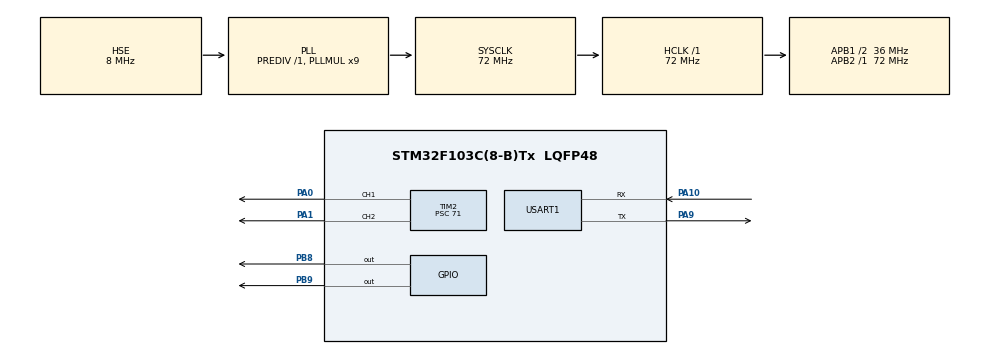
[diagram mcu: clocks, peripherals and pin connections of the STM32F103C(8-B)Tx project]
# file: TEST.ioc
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Mcu.Family=STM32F1
Mcu.Name=STM32F103C(8-B)Tx
Mcu.Package=LQFP48
NVIC.PriorityGroup=NVIC_PRIORITYGROUP_4
NVIC.USART1_IRQn=true\:0\:0\:false\:false\:true\:true\:true\:true
PA0-WKUP.Signal=S_TIM2_CH1_ETR
PA1.Signal=S_TIM2_CH2
PA10.Mode=Asynchronous
PA10.Signal=USART1_RX
PA13.Mode=Serial_Wire
PA13.Signal=SYS_JTMS-SWDIO
PA14.Mode=Serial_Wire
PA14.Signal=SYS_JTCK-SWCLK
PA9.Mode=Asynchronous
PA9.Signal=USART1_TX
PB8.GPIO_Speed=GPIO_SPEED_FREQ_HIGH
PB8.Signal=GPIO_Output
PB9.GPIO_Speed=GPIO_SPEED_FREQ_HIGH
PB9.Signal=GPIO_Output
PD0-OSC_IN.Mode=HSE-External-Oscillator
PD0-OSC_IN.Signal=RCC_OSC_IN
PD1-OSC_OUT.Mode=HSE-External-Oscillator
PD1-OSC_OUT.Signal=RCC_OSC_OUT
ProjectManager.HeapSize=0x200
ProjectManager.StackSize=0x400
ProjectManager.TargetToolchain=STM32CubeIDE
RCC.AHBFreq_Value=72000000
RCC.APB1CLKDivider=RCC_HCLK_DIV2
RCC.APB1Freq_Value=36000000
RCC.APB1TimFreq_Value=72000000
RCC.APB2Freq_Value=72000000
RCC.APB2TimFreq_Value=72000000
RCC.HCLKFreq_Value=72000000
RCC.PLLMUL=RCC_PLL_MUL9
RCC.PLLSourceVirtual=RCC_PLLSOURCE_HSE
RCC.SYSCLKFreq_VALUE=72000000
RCC.SYSCLKSource=RCC_SYSCLKSOURCE_PLLCLK
RCC.USBFreq_Value=72000000
SH.S_TIM2_CH1_ETR.0=TIM2_CH1,PWM Generation1 CH1
SH.S_TIM2_CH2.0=TIM2_CH2,PWM Generation2 CH2
TIM2.Channel-PWM\ Generation1\ CH1=TIM_CHANNEL_1
TIM2.Channel-PWM\ Generation2\ CH2=TIM_CHANNEL_2
TIM2.Period=19999
TIM2.Prescaler=71
USART1.VirtualMode=VM_ASYNC
board=custom

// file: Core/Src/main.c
/* USER CODE BEGIN Header */
/**
  ******************************************************************************
  * @file           : main.c
  * @brief          : Main program body
  ******************************************************************************
  */
/* USER CODE END Header */
#include "main.h"

/* USER CODE BEGIN Includes */
#include "OLED.h"
#include "Delay.h"
#include "Servo.h"
#include "Serial.h"
#include "SquareDraw.h"
#include "Motion.h"
#include <string.h>
/* USER CODE END Includes */

TIM_HandleTypeDef htim2;

UART_HandleTypeDef huart1;

/* USER CODE BEGIN PV */
// 角度存储: 0.1° 单位 (913 = 91.3°)
uint16_t panAngle10  = 900;   // 90.0°
uint16_t tiltAngle10 = 900;   // 90.0°
uint8_t scanRunning = 0;
uint8_t scanPanDir  = 0;
uint8_t scanTiltDir = 0;
/* USER CODE END PV */

void SystemClock_Config(void);
static void MX_GPIO_Init(void);
static void MX_TIM2_Init(void);
static void MX_USART1_UART_Init(void);

int main(void)
{

  HAL_Init();
  SystemClock_Config();

  MX_GPIO_Init();
  MX_TIM2_Init();
  MX_USART1_UART_Init();
  /* USER CODE BEGIN 2 */

  HAL_TIM_PWM_Start(&htim2, TIM_CHANNEL_1);
  HAL_TIM_PWM_Start(&htim2, TIM_CHANNEL_2);
  Servo_SetPanAngle10(900);   // 90.0°
  Servo_SetTiltAngle10(900);  // 90.0°

  Serial_Init();
  SquareDraw_Init();
  Motion_Init();

  OLED_Init();
  OLED_Clear();

  OLED_ShowString(1, 1, "Pan-Tilt Gimbal");
  OLED_ShowString(2, 1, "LD-1501MG x2");
  OLED_ShowString(3, 1, "Init done!     ");
  OLED_ShowString(4, 1, "UART 115200bps");
  HAL_Delay(1500);

  Serial_SendString("\r\n========================================\r\n");
  Serial_SendString("  2-Axis Pan-Tilt Gimbal Controller\r\n");
  Serial_SendString("  LD-1501MG x2  |  STM32F103C8T6\r\n");
  Serial_SendString("========================================\r\n");
  Serial_SendString("Commands:\r\n");
  Serial_SendString("  P=0~180  Set Pan angle (e.g. P=91.3)\r\n");
  Serial_SendString("  T=0~90   Set Tilt angle (e.g. T=45.7)\r\n");
  Serial_SendString("  TRACK,dp,dt  Incremental tracking\r\n");
  Serial_SendString("  SCAN     Scan all axes\r\n");
  Serial_SendString("  STOP     Stop scan\r\n");
  Serial_SendString("  RST      Reset to 90deg\r\n");
  Serial_SendString("  INFO     Show angle range\r\n");
  Serial_SendString("  CP       Show Pan angle & PWM\r\n");
  Serial_SendString("  CP+n     Pan +n deg (default 5)\r\n");
  Serial_SendString("  CP-n     Pan -n deg (default 5)\r\n");
  Serial_SendString("  CT       Show Tilt angle & PWM\r\n");
  Serial_SendString("  CT+n     Tilt +n deg (default 5)\r\n");
  Serial_SendString("  CT-n     Tilt -n deg (default 5)\r\n");
  Serial_SendString("  SQUARE n Draw nxn cm square\r\n");
  Serial_SendString("  CONFIG ARM n   Set arm length (cm)\r\n");
  Serial_SendString("  CONFIG DIST n  Set mount distance (cm)\r\n");
  Serial_SendString("  CONFIG SHOW    Show current config\r\n");
  Serial_SendString("========================================\r\n");
  Serial_SendString("Current Config:\r\n");
  Serial_SendString("  Arm Length: ");
  Serial_SendNum((uint32_t)Config_GetArmLength());
  Serial_SendString("cm\r\n");
  Serial_SendString("  Mount Distance: ");
  Serial_SendNum((uint32_t)Config_GetMountDistance());
  Serial_SendString("cm\r\n");
  Serial_SendString("========================================\r\n\r\n");

  /* USER CODE END 2 */

  /* Infinite loop */
  /* USER CODE BEGIN WHILE */
  static uint32_t last_tick = 0;
  while (1)
  {
    /* USER CODE END WHILE */

    /* USER CODE BEGIN 3 */
    uint32_t current_tick = HAL_GetTick();
    if (current_tick - last_tick < 20) {
        continue;
    }
    last_tick = current_tick;

    Motion_Update();

    if (g_CommandReady)
    {
        uint8_t cmdType = g_CommandReady;
        g_CommandReady = 0;

        if (cmdType == 2)
        {
            scanRunning = 0;
            panAngle10  = 900;   // 90.0°
            tiltAngle10 = 900;
            Servo_SetPanAngle10(panAngle10);
            Servo_SetTiltAngle10(tiltAngle10);
            Serial_SendString("OK RESET -> (P=90.0, T=90.0)\r\n");
        }
        else if (cmdType == 3)
        {
            Serial_SendString("Angle Range:\r\n");
            Serial_SendString("  Pan:  ");
            Serial_SendNum(SERVO_PAN_MAX / 10);
            Serial_SendString(" deg\r\n");
            Serial_SendString("  Tilt: ");
            Serial_SendNum(SERVO_TILT_MAX / 10);
            Serial_SendString(" deg\r\n");
        }
        else if (cmdType == 4)
        {
            uint16_t currentPulse = 0;

            if (g_CalibMode == 1) {
                currentPulse = Servo_Angle10ToPulse_Pan(panAngle10);
                Serial_SendString("P Axis:\r\n");
                Serial_SendString("  Angle: ");
                Serial_SendNum(panAngle10 / 10);
                Serial_SendString(".");
                Serial_SendNum(panAngle10 % 10);
                Serial_SendString(" deg\r\n");
                Serial_SendString("  PWM:   ");
                Serial_SendNum(currentPulse);
                Serial_SendString(" us\r\n");
            }
            else if (g_CalibMode == 2) {
                uint16_t delta10 = g_CalibValue * 10;  // deg → ×10
                if (panAngle10 + delta10 <= SERVO_PAN_MAX) {
                    panAngle10 += delta10;
                } else {
                    panAngle10 = SERVO_PAN_MAX;
                }
                Servo_SetPanAngle10(panAngle10);
                currentPulse = Servo_Angle10ToPulse_Pan(panAngle10);
                Serial_SendString("P+ -> ");
                Serial_SendNum(panAngle10 / 10);
                Serial_SendString(".");
                Serial_SendNum(panAngle10 % 10);
                Serial_SendString(" deg, ");
                Serial_SendNum(currentPulse);
                Serial_SendString(" us\r\n");
            }
            else if (g_CalibMode == 3) {
                uint16_t delta10 = g_CalibValue * 10;
                if (panAngle10 >= delta10) {
                    panAngle10 -= delta10;
                } else {
                    panAngle10 = SERVO_PAN_MIN;
                }
                Servo_SetPanAngle10(panAngle10);
                currentPulse = Servo_Angle10ToPulse_Pan(panAngle10);
                Serial_SendString("P- -> ");
                Serial_SendNum(panAngle10 / 10);
                Serial_SendString(".");
                Serial_SendNum(panAngle10 % 10);
                Serial_SendString(" deg, ");
                Serial_SendNum(currentPulse);
                Serial_SendString(" us\r\n");
            }
            else if (g_CalibMode == 4) {
                currentPulse = Servo_Angle10ToPulse_Tilt(tiltAngle10);
                Serial_SendString("T Axis:\r\n");
                Serial_SendString("  Angle: ");
                Serial_SendNum(tiltAngle10 / 10);
                Serial_SendString(".");
                Serial_SendNum(tiltAngle10 % 10);
                Serial_SendString(" deg\r\n");
                Serial_SendString("  PWM:   ");
                Serial_SendNum(currentPulse);
                Serial_SendString(" us\r\n");
            }
            else if (g_CalibMode == 5) {
                uint16_t delta10 = g_CalibValue * 10;
                if (tiltAngle10 + delta10 <= SERVO_TILT_MAX) {
                    tiltAngle10 += delta10;
                } else {
                    tiltAngle10 = SERVO_TILT_MAX;
                }
                Servo_SetTiltAngle10(tiltAngle10);
                currentPulse = Servo_Angle10ToPulse_Tilt(tiltAngle10);
                Serial_SendString("T+ -> ");
                Serial_SendNum(tiltAngle10 / 10);
                Serial_SendString(".");
                Serial_SendNum(tiltAngle10 % 10);
                Serial_SendString(" deg, ");
                Serial_SendNum(currentPulse);
                Serial_SendString(" us\r\n");
            }
            else if (g_CalibMode == 6) {
                uint16_t delta10 = g_CalibValue * 10;
                if (tiltAngle10 >= delta10) {
                    tiltAngle10 -= delta10;
                } else {
                    tiltAngle10 = SERVO_TILT_MIN;
                }
                Servo_SetTiltAngle10(tiltAngle10);
                currentPulse = Servo_Angle10ToPulse_Tilt(tiltAngle10);
                Serial_SendString("T- -> ");
                Serial_SendNum(tiltAngle10 / 10);
                Serial_SendString(".");
                Serial_SendNum(tiltAngle10 % 10);
                Serial_SendString(" deg, ");
                Serial_SendNum(currentPulse);
                Serial_SendString(" us\r\n");
            }

            g_CalibMode = 0;
            g_CalibValue = 0;
        }
        else if (cmdType == 5)
        {
            int8_t result = SquareDraw_Start(g_SquareSize_cm, g_SquareSize_cm);
            if (result == -1) {
                Serial_SendString("错误：参数无效\r\n");
            } else if (result == -2) {
                Serial_SendString("错误：角度超出范围，请减小尺寸或调整原点位置\r\n");
            } else if (result == -3) {
                Serial_SendString("错误：SCAN模式正在运行，请先停止\r\n");
            }
        }
        else if (cmdType == 6)
        {
            if (g_ConfigParamType == 1) {
                if (Config_SetArmLength((float)g_ConfigParamValue) == 0) {
                    Serial_SendString("OK 舵机臂长已设置为 ");
                    Serial_SendNum(g_ConfigParamValue);
                    Serial_SendString("cm\r\n");
                } else {
                    Serial_SendString("错误：设置失败\r\n");
                }
            }
            else if (g_ConfigParamType == 2) {
                if (Config_SetMountDistance((float)g_ConfigParamValue) == 0) {
                    Serial_SendString("OK 安装距离已设置为 ");
                    Serial_SendNum(g_ConfigParamValue);
                    Serial_SendString("cm\r\n");
                } else {
                    Serial_SendString("错误：设置失败\r\n");
                }
            }
            else if (g_ConfigParamType == 3) {
                Serial_SendString("当前配置:\r\n");
                Serial_SendString("  舵机臂长: ");
                Serial_SendNum((uint32_t)Config_GetArmLength());
                Serial_SendString("cm\r\n");
                Serial_SendString("  安装距离: ");
                Serial_SendNum((uint32_t)Config_GetMountDistance());
                Serial_SendString("cm\r\n");
            }

            g_ConfigParamType = 0;
            g_ConfigParamValue = 0;
        }
        else if (g_ScanMode > 0)
        {
            scanRunning = g_ScanMode;
            g_ScanMode  = 0;
            scanPanDir  = 0;
            scanTiltDir = 0;

            const char *modeName[] = {"", "SCAN ALL", "SCAN PAN", "SCAN TILT", "LIMIT DETECT"};
            Serial_SendString("OK ");
            Serial_SendString(modeName[scanRunning]);
            Serial_SendString("\r\n");
        }
        else
        {
            // P= / T= 绝对角度命令 (0.1° 单位)
            if (g_ParsedPanAngle10 != 0xFFFF)
            {
                panAngle10 = g_ParsedPanAngle10;
                Servo_SetPanAngle10(panAngle10);
            }
            if (g_ParsedTiltAngle10 != 0xFFFF)
            {
                tiltAngle10 = g_ParsedTiltAngle10;
                Servo_SetTiltAngle10(tiltAngle10);
            }
            scanRunning = 0;

            Serial_SendString("OK P=");
            Serial_SendNum(panAngle10 / 10);
            Serial_SendString(".");
            Serial_SendNum(panAngle10 % 10);
            Serial_SendString(", T=");
            Serial_SendNum(tiltAngle10 / 10);
            Serial_SendString(".");
            Serial_SendNum(tiltAngle10 % 10);
            Serial_SendString("\r\n");

            g_ParsedPanAngle10  = 0xFFFF;
            g_ParsedTiltAngle10 = 0xFFFF;
        }
    }

    if (scanRunning)
    {
        uint8_t step = (scanRunning == 4) ? 10 : 20;  // ×10: 1°→10, 2°→20

        if (scanRunning == 1 || scanRunning == 2 || scanRunning == 4)
        {
            if (scanPanDir == 0) {
                panAngle10 += step;
                if (panAngle10 >= SERVO_PAN_MAX) { panAngle10 = SERVO_PAN_MAX; scanPanDir = 1; }
            } else {
                panAngle10 -= step;
                if (panAngle10 <= SERVO_PAN_MIN) { panAngle10 = SERVO_PAN_MIN; scanPanDir = 0; }
            }
            Servo_SetPanAngle10(panAngle10);
        }

        if (scanRunning == 1 || scanRunning == 3 || scanRunning == 4)
        {
            if (scanTiltDir == 0) {
                tiltAngle10 += step;
                if (tiltAngle10 >= SERVO_TILT_MAX) { tiltAngle10 = SERVO_TILT_MAX; scanTiltDir = 1; }
            } else {
                tiltAngle10 -= step;
                if (tiltAngle10 <= SERVO_TILT_MIN) { tiltAngle10 = SERVO_TILT_MIN; scanTiltDir = 0; }
            }
            Servo_SetTiltAngle10(tiltAngle10);
        }
    }

    SquareDraw_Execute();

    uint16_t panPulse  = Servo_Angle10ToPulse_Pan(panAngle10);
    uint16_t tiltPulse = Servo_Angle10ToPulse_Tilt(tiltAngle10);

    OLED_ShowString(1, 1, "P:");
    OLED_ShowNum(1, 3, panAngle10 / 10, 3);
    OLED_ShowString(1, 6, ".");
    OLED_ShowNum(1, 7, panAngle10 % 10, 1);
    OLED_ShowString(1, 8, "deg  ");

    OLED_ShowString(2, 1, "T:");
    OLED_ShowNum(2, 3, tiltAngle10 / 10, 3);
    OLED_ShowString(2, 6, ".");
    OLED_ShowNum(2, 7, tiltAngle10 % 10, 1);
    OLED_ShowString(2, 8, "deg  ");

    OLED_ShowString(3, 1, "PWM P:");
    OLED_ShowNum(3, 7, panPulse, 4);
    OLED_ShowString(3, 11, "us");

    OLED_ShowString(4, 1, "PWM T:");
    OLED_ShowNum(4, 7, tiltPulse, 4);
    OLED_ShowString(4, 11, "us");

  }
  /* USER CODE END 3 */
}

void SystemClock_Config(void)
{
  RCC_OscInitTypeDef RCC_OscInitStruct = {0};
  RCC_ClkInitTypeDef RCC_ClkInitStruct = {0};

  RCC_OscInitStruct.OscillatorType = RCC_OSCILLATORTYPE_HSE;
  RCC_OscInitStruct.HSEState = RCC_HSE_ON;
  RCC_OscInitStruct.HSEPredivValue = RCC_HSE_PREDIV_DIV1;
  RCC_OscInitStruct.HSIState = RCC_HSI_ON;
  RCC_OscInitStruct.PLL.PLLState = RCC_PLL_ON;
  RCC_OscInitStruct.PLL.PLLSource = RCC_PLLSOURCE_HSE;
  RCC_OscInitStruct.PLL.PLLMUL = RCC_PLL_MUL9;
  if (HAL_RCC_OscConfig(&RCC_OscInitStruct) != HAL_OK)
  {
    Error_Handler();
  }

  RCC_ClkInitStruct.ClockType = RCC_CLOCKTYPE_HCLK|RCC_CLOCKTYPE_SYSCLK
                              |RCC_CLOCKTYPE_PCLK1|RCC_CLOCKTYPE_PCLK2;
  RCC_ClkInitStruct.SYSCLKSource = RCC_SYSCLKSOURCE_PLLCLK;
  RCC_ClkInitStruct.AHBCLKDivider = RCC_SYSCLK_DIV1;
  RCC_ClkInitStruct.APB1CLKDivider = RCC_HCLK_DIV2;
  RCC_ClkInitStruct.APB2CLKDivider = RCC_HCLK_DIV1;

  if (HAL_RCC_ClockConfig(&RCC_ClkInitStruct, FLASH_LATENCY_2) != HAL_OK)
  {
    Error_Handler();
  }
}

static void MX_TIM2_Init(void)
{
  TIM_MasterConfigTypeDef sMasterConfig = {0};
  TIM_OC_InitTypeDef sConfigOC = {0};

  htim2.Instance = TIM2;
  htim2.Init.Prescaler = 71;
  htim2.Init.CounterMode = TIM_COUNTERMODE_UP;
  htim2.Init.Period = 19999;
  htim2.Init.ClockDivision = TIM_CLOCKDIVISION_DIV1;
  htim2.Init.AutoReloadPreload = TIM_AUTORELOAD_PRELOAD_DISABLE;
  if (HAL_TIM_PWM_Init(&htim2) != HAL_OK)
  {
    Error_Handler();
  }
  sMasterConfig.MasterOutputTrigger = TIM_TRGO_RESET;
  sMasterConfig.MasterSlaveMode = TIM_MASTERSLAVEMODE_DISABLE;
  if (HAL_TIMEx_MasterConfigSynchronization(&htim2, &sMasterConfig) != HAL_OK)
  {
    Error_Handler();
  }
  sConfigOC.OCMode = TIM_OCMODE_PWM1;
  sConfigOC.Pulse = 0;
  sConfigOC.OCPolarity = TIM_OCPOLARITY_HIGH;
  sConfigOC.OCFastMode = TIM_OCFAST_DISABLE;
  if (HAL_TIM_PWM_ConfigChannel(&htim2, &sConfigOC, TIM_CHANNEL_1) != HAL_OK)
  {
    Error_Handler();
  }
  if (HAL_TIM_PWM_ConfigChannel(&htim2, &sConfigOC, TIM_CHANNEL_2) != HAL_OK)
  {
    Error_Handler();
  }
  HAL_TIM_MspPostInit(&htim2);
}

static void MX_USART1_UART_Init(void)
{
  huart1.Instance = USART1;
  huart1.Init.BaudRate = 115200;
  huart1.Init.WordLength = UART_WORDLENGTH_8B;
  huart1.Init.StopBits = UART_STOPBITS_1;
  huart1.Init.Parity = UART_PARITY_NONE;
  huart1.Init.Mode = UART_MODE_TX_RX;
  huart1.Init.HwFlowCtl = UART_HWCONTROL_NONE;
  huart1.Init.OverSampling = UART_OVERSAMPLING_16;
  if (HAL_UART_Init(&huart1) != HAL_OK)
  {
    Error_Handler();
  }
}

static void MX_GPIO_Init(void)
{
  GPIO_InitTypeDef GPIO_InitStruct = {0};

  __HAL_RCC_GPIOD_CLK_ENABLE();
  __HAL_RCC_GPIOA_CLK_ENABLE();
  __HAL_RCC_GPIOB_CLK_ENABLE();

  HAL_GPIO_WritePin(GPIOB, GPIO_PIN_8|GPIO_PIN_9, GPIO_PIN_RESET);

  GPIO_InitStruct.Pin = GPIO_PIN_8|GPIO_PIN_9;
  GPIO_InitStruct.Mode = GPIO_MODE_OUTPUT_PP;
  GPIO_InitStruct.Pull = GPIO_NOPULL;
  GPIO_InitStruct.Speed = GPIO_SPEED_FREQ_HIGH;
  HAL_GPIO_Init(GPIOB, &GPIO_InitStruct);
}

void HAL_UART_RxCpltCallback(UART_HandleTypeDef *huart)
{
    if (huart->Instance == USART1)
    {
        Serial_ProcessByte(g_RxByte);
    }
}

void Error_Handler(void)
{
  __disable_irq();
  while (1)
  {
  }
}
